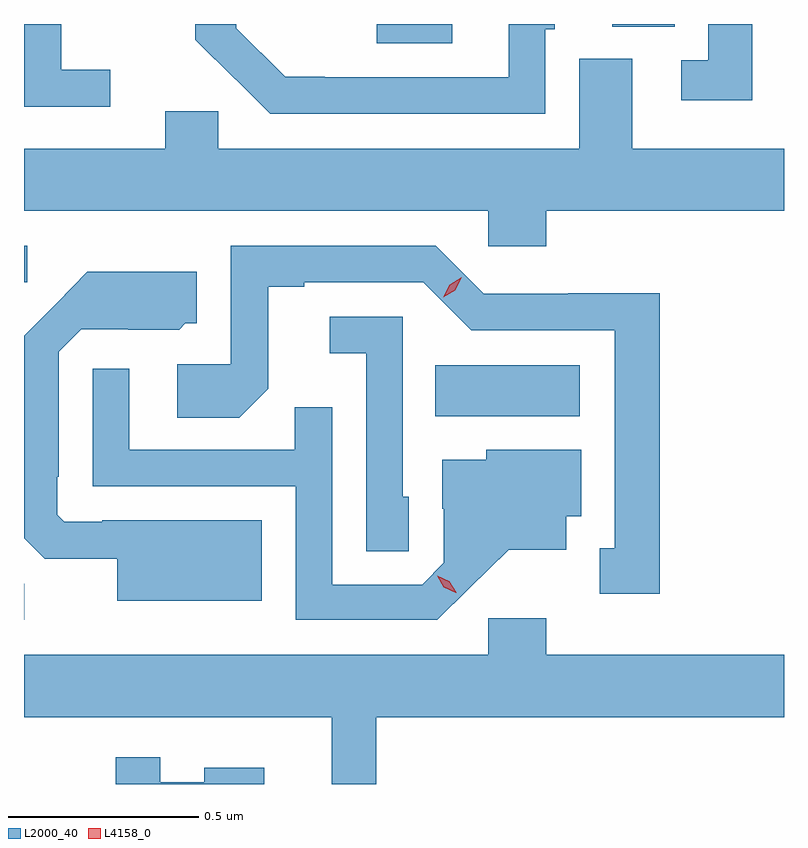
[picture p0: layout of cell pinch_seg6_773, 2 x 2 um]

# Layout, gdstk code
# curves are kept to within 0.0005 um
import gdstk
lib = gdstk.Library(unit=1e-6, precision=1e-09)
def R(c, l, rs):  # rectangles x0, y0, x1, y1
    for r in rs: c.add(gdstk.rectangle(r[:2], r[2:], *l))
def P(c, l, *ps):  # polygons
    for p in ps: c.add(gdstk.Polygon(p, *l))
L2000_40 = (2000, 40)
L4158_0 = (4158, 0)

pinch_seg6_773 = lib.new_cell('pinch_seg6_773')
R(pinch_seg6_773, L2000_40, [(598.268,951.588,598.269,951.683), (599.35,952.124,599.731,952.258), (598.268,952.476,598.276,952.572), (599.196,953.106,599.395,953.156), (599.816,953.149,599.98,953.156)])
P(pinch_seg6_773, L2000_40, [(598.495,953.035),(598.366,953.035),(598.366,953.156),(598.268,953.156),(598.268,952.938),(598.495,952.938)],
  [(599.64,953.142),(599.665,953.142),(599.665,953.156),(599.543,953.156),(599.543,953.016),(599.059,953.016),(599.059,953.017),(598.956,953.017),(598.827,953.145),(598.827,953.156),(598.719,953.156),(598.719,953.115),(598.824,953.01),(598.825,953.011),(598.916,952.92),(599.64,952.92)],
  [(600.185,953.156),(600.069,953.156),(600.069,953.061),(599.997,953.061),(599.997,952.956),(600.185,952.956)],
  [(599.642,952.664),(600.268,952.664),(600.268,952.828),(599.869,952.828),(599.869,953.064),(599.729,953.064),(599.729,952.828),(598.779,952.828),(598.779,952.926),(598.64,952.926),(598.64,952.828),(598.268,952.828),(598.268,952.664),(599.49,952.664),(599.49,952.571),(599.642,952.571)],
  [(599.941,952.448),(599.7,952.448),(599.7,952.446),(599.478,952.446),(599.352,952.572),(598.812,952.572),(598.812,952.26),(598.671,952.26),(598.671,952.12),(598.835,952.12),(598.911,952.196),(598.911,952.464),(599.005,952.464),(599.005,952.476),(599.319,952.476),(599.445,952.35),(599.822,952.35),(599.822,951.777),(599.783,951.777),(599.783,951.657),(599.941,951.657)],
  [(598.894,951.85),(598.474,951.85),(598.474,951.846),(598.374,951.846),(598.356,951.864),(598.356,951.964),(598.359,951.964),(598.359,952.293),(598.419,952.353),(598.542,952.353),(598.542,952.352),(598.676,952.352),(598.692,952.368),(598.723,952.368),(598.723,952.504),(598.435,952.504),(598.268,952.335),(598.268,951.803),(598.322,951.749),(598.514,951.749),(598.514,951.638),(598.894,951.638)],
  [(599.28,951.912),(599.265,951.912),(599.265,952.386),(599.073,952.386),(599.073,952.289),(599.169,952.289),(599.169,951.769),(599.28,951.769)],
  [(599.44,951.671),(599.543,951.773),(599.695,951.773),(599.695,951.86),(599.734,951.86),(599.734,952.036),(599.484,952.036),(599.484,952.009),(599.369,952.009),(599.369,951.88),(599.373,951.88),(599.373,951.738),(599.316,951.681),(599.079,951.681),(599.079,952.148),(598.981,952.148),(598.981,952.035),(598.545,952.035),(598.545,952.249),(598.449,952.249),(598.449,951.939),(598.983,951.939),(598.983,951.588),(599.356,951.588)],
  [(599.195,951.332),(600.268,951.332),(600.268,951.496),(599.642,951.496),(599.642,951.592),(599.49,951.592),(599.49,951.496),(598.268,951.496),(598.268,951.332),(599.078,951.332),(599.078,951.156),(599.195,951.156)],
  [(598.9,951.199),(598.742,951.199),(598.742,951.16),(598.626,951.16),(598.626,951.226),(598.51,951.226),(598.51,951.156),(598.9,951.156)])
P(pinch_seg6_773, L4158_0, [(599.404,951.659),(599.373,951.674),(599.355,951.704),(599.355,951.704),(599.356,951.704),(599.387,951.689),(599.405,951.66),(599.405,951.659)],
  [(599.371,952.437),(599.371,952.437),(599.388,952.47),(599.42,952.489),(599.42,952.489),(599.42,952.489),(599.403,952.456),(599.371,952.437)])

lib.write_gds('pinch_seg6_773.gds')
